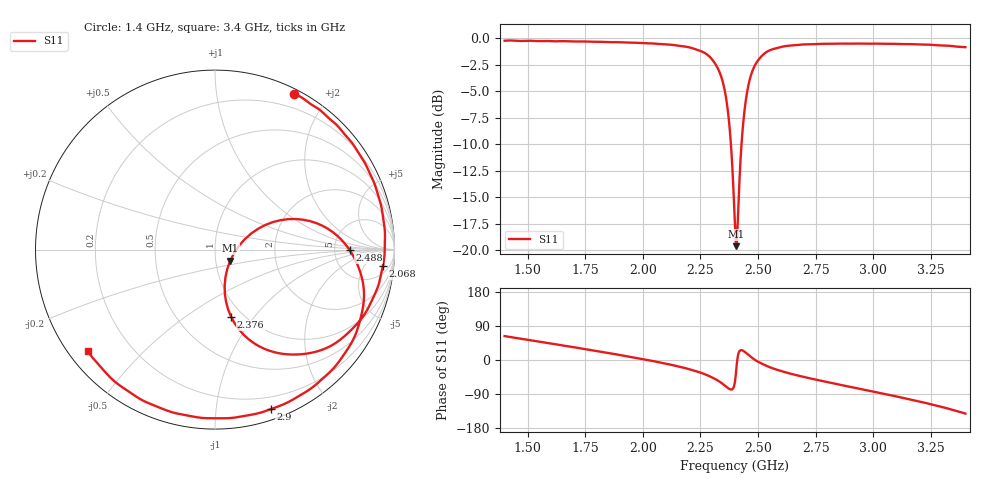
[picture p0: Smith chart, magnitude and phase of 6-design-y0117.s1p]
#  Hz  S  RI  R  50
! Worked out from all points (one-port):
!   501 points, 1.4 GHz to 3.4 GHz, reference 50 ohm
!   lowest |S11| = -19.6 dB at 2.404 GHz (marker M1), VSWR 1.23, Z = 58.9 - j7.23 ohm
!   |S11| at or under -10 dB: 2.382 GHz to 2.428 GHz (46.06 MHz wide, 1.91 % of centre)
!   S11 on the Smith chart (normalised r, x): 1.4 GHz: 0.05, +1.63; 2.068 GHz: 9, -14; 2.376 GHz: 0.88, -0.77; 2.488 GHz: 7.00, -0.08; 2.9 GHz: 0.09, -1.40; 3.4 GHz: 0.05, -0.35
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1.4e9  0.4392 0.8678
1.652e9  0.758 0.602
1.9e9  0.9307 0.2191
2.068e9  0.9349 -0.0926
2.152e9  0.883 -0.2646
2.248e9  0.7325 -0.4726
2.28e9  0.6367 -0.5409
2.312e9  0.495 -0.5815
2.348e9  0.2733 -0.552
2.364e9  0.159 -0.4736
2.376e9  0.0896 -0.3742
2.384e9  0.0615 -0.291
2.4e9  0.069 -0.106
2.404e9  0.0854 -0.0608
2.412e9  0.1344 0.022
2.428e9  0.2812 0.1376
2.444e9  0.4511 0.1704
2.464e9  0.6278 0.1167
2.488e9  0.7499 -0.0024
2.516e9  0.8127 -0.1368
2.544e9  0.8302 -0.2584
2.652e9  0.7302 -0.5675
2.776e9  0.5371 -0.772
2.9e9  0.3098 -0.8894
3.02e9  0.0685 -0.9394
3.152e9  -0.2086 -0.914
3.292e9  -0.5026 -0.7761
3.4e9  -0.7088 -0.5655
